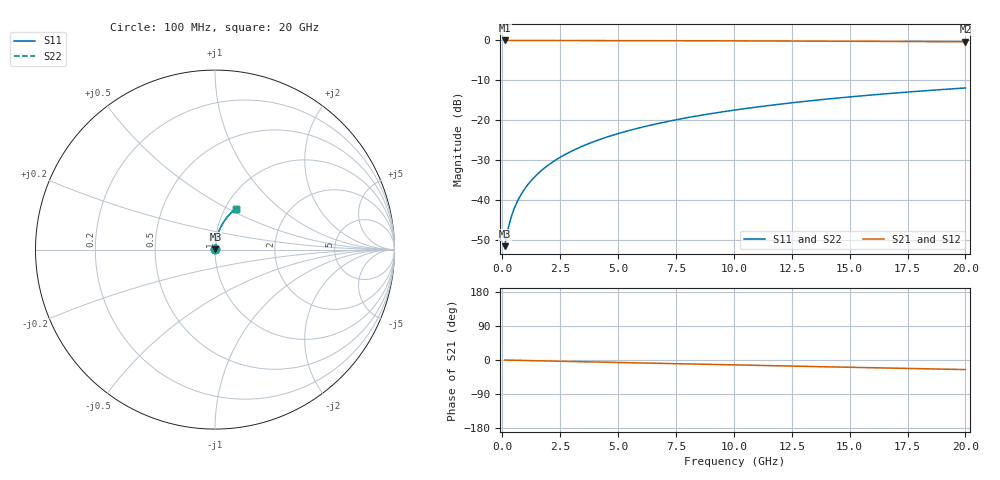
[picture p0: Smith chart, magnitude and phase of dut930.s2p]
! Touchstone file exported from HFSS 2026.1.0
!  File:  C:/ffzhzh/LocalFiles/Ansys_Project_Files/temp_train_BSMRDL_930_1783171898_18472.aedt
!  Generated:  09:32:54 PM Jul  4, 2026
!  Design:  BSMRDL
!  Project:  temp_train_BSMRDL_930_1783171898_18472
! Variables:
!  h_bsmrdl = 2.35um
!  h_ox = 20um
!  h_rdl = 5um
!  h_sub = 80um
!  h_tmrdl = 5um
!  h_tsv = 80um
!  h_via = 3um
!  l_bsmrdl = 321.15um
!  l_sub = 721.15um
!  l_tmrdl = 200um
!  m_sub = 200um
!  pitch = 54.45um
!  r_tsv = 6um
!  s_tmrdl = 10um
!  w_bsmrdl = 26.39um
!  w_sub = 500um
!  w_tmrdl = 12um
!  x_tsv_center1 = 206um
!  x_tsv_center2 = 553.54um
!  x_tsv_center3 = 765.54um
!  x_tsv_center4 = 1113.08um
!  x_tsv_center5 = 1325.08um
!  x_tsv_center6 = 1672.62um
# GHz S MA R 50.000000
! Terminal data exported
! Port[1] = BSM_RDL1_1_T1
! Port[2] = BSM_RDL1_1_T2
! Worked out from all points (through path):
!   200 points, 100 MHz to 20 GHz, reference 50 ohm
!   highest |S21| = -0.02 dB at 100 MHz (marker M1); lowest = -0.3 dB at 20 GHz (marker M2)
!   group delay of S21, straight-line fit = 3.52 ps
!   lowest |S11| = -51.5 dB at 100 MHz (marker M3), VSWR 1.01, Z = 50.2 + j0.152 ohm
!   |S11| at or under -10 dB: start of sweep to end of sweep
!   |S22| runs from -51.5 to -11.9 dB; largest |S21 - S12| = 3.4e-15
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0.1  0.002674 34.3  0.9978 -0.1  0.9978 -0.1  0.002674 34.3
! Gamma 0 0 0 0
! Port Impedance 50 0 50 0
0.2  0.003767 52.6  0.9977 -0.3  0.9977 -0.3  0.003767 52.6
0.3  0.005046 61.7  0.9976 -0.4  0.9976 -0.4  0.005046 61.7
0.4  0.006371 66.8  0.9975 -0.5  0.9975 -0.5  0.006371 66.8
0.5  0.007703 70.0  0.9974 -0.7  0.9974 -0.7  0.007703 70.0
0.6  0.009032 72.3  0.9973 -0.8  0.9973 -0.8  0.009033 72.3
0.8  0.01169 75.4  0.9972 -1.1  0.9972 -1.1  0.01169 75.4
1.1  0.01568 78.1  0.997 -1.5  0.997 -1.5  0.01568 78.1
1.3  0.01836 79.2  0.9969 -1.7  0.9969 -1.7  0.01836 79.2
1.6  0.02239 80.3  0.9968 -2.1  0.9968 -2.1  0.02239 80.3
2.1  0.02913 81.3  0.9966 -2.8  0.9966 -2.8  0.02913 81.3
2.7  0.03726 81.7  0.9962 -3.5  0.9962 -3.5  0.03726 81.7
3.5  0.04809 81.6  0.9956 -4.6  0.9956 -4.6  0.04809 81.6
4.2  0.05755 81.2  0.995 -5.5  0.995 -5.5  0.05755 81.2
5  0.06832 80.6  0.9942 -6.5  0.9942 -6.5  0.06832 80.6
5.9  0.08038 79.7  0.9932 -7.7  0.9932 -7.7  0.08038 79.7
6.8  0.09236 78.8  0.992 -8.9  0.992 -8.9  0.09236 78.8
8.3  0.1121 77.1  0.9896 -10.8  0.9896 -10.8  0.1121 77.1
10.1  0.1354 75.0  0.9863 -13.1  0.9863 -13.1  0.1354 75.0
13.4  0.1769 71.1  0.979 -17.2  0.979 -17.2  0.1769 71.1
16.7  0.2166 67.1  0.9703 -21.3  0.9703 -21.3  0.2166 67.1
20  0.2542 63.3  0.9607 -25.3  0.9607 -25.3  0.2542 63.2
